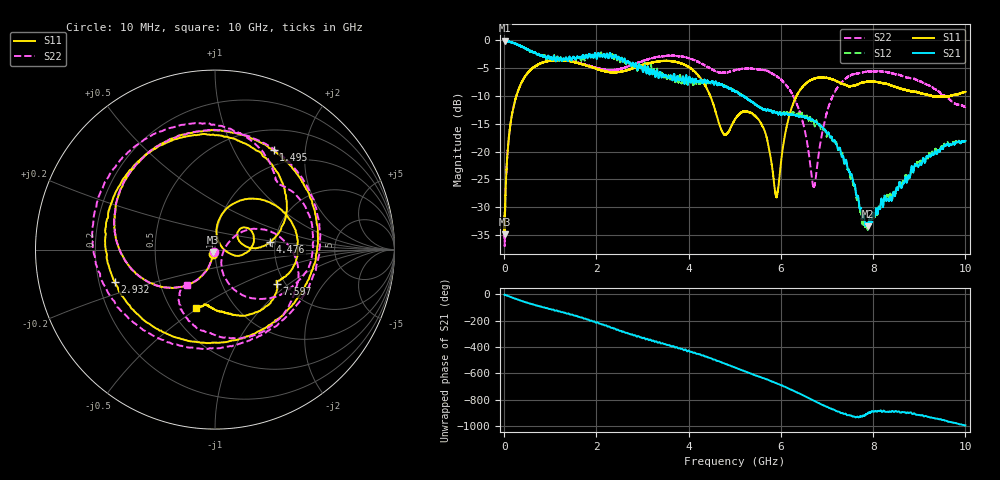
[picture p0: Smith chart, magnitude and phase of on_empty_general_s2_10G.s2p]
!Agilent Technologies,E8362C,MY43020457,A.09.42.15
!Agilent E8362C: A.09.42.15
!Date: Friday, March 13, 2026 15:04:20
!Correction: S11(Full 2 Port(1,2))
!S21(Full 2 Port(1,2))
!S12(Full 2 Port(1,2))
!S22(Full 2 Port(1,2))
!S2P File: Measurements: S11, S21, S12, S22:
# Hz S  dB  R 50
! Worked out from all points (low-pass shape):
!   20001 points, 10 MHz to 10 GHz, reference 50 ohm
!   highest |S21| = -0.02 dB at 10 MHz (marker M1); lowest = -33.4 dB at 7.882 GHz (marker M2)
!   |S21| within 3 dB of the highest: start of sweep to 901.2 MHz; 2.019 GHz to 2.19 GHz (170.8 MHz wide, 8.11 % of centre)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
!   lowest |S11| = -34.9 dB at 10.5 MHz (marker M3), VSWR 1.04, Z = 48.8 - j1.29 ohm
!   |S11| at or under -10 dB: start of sweep to 264.8 MHz; 4.468 GHz to 6.339 GHz (1.871 GHz wide, 34.6 % of centre); 9.284 GHz to 9.664 GHz (380.2 MHz wide, 4.01 % of centre)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
!   |S22| runs from -37.0 to -2.7 dB; largest |S21 - S12| = 0.057
!   S11 on the Smith chart (normalised r, x): 10 MHz: 0.98, -0.05; 1.495 GHz: 0.77, +1.46; 2.932 GHz: 0.27, -0.15; 4.476 GHz: 1.88, +0.17; 7.597 GHz: 1.81, -0.82; 10 GHz: 0.66, -0.49
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1e7  -31.05 -110.8  -0.02 -1.7  -0.11 -1.2  -35.71 -104.8
1.04995e7  -34.92 -132.6  -0.07 -1.3  -0.06 -1.6  -35.39 -138.2
1.273825e8  -15.70 -116.7  -0.27 -17.8  -0.27 -17.8  -15.69 -116.8
3.551545e8  -7.96 -151.6  -0.99 -47.1  -1.00 -46.9  -7.97 -151.4
8.14195e8  -4.03 145.2  -2.68 -94.3  -2.72 -94.7  -4.04 145.2
1.495014e9  -3.85 59.5  -3.01 -156.7  -2.90 -157.3  -3.78 57.2
1.675333e9  -4.25 35.7  -3.20 -175.8  -3.60 -174.6  -4.16 32.1
2.396112e9  -5.74 -73.9  -2.85 100.0  -3.06 100.5  -5.30 -77.6
2.932075e9  -4.61 -162.1  -4.40 37.3  -4.39 37.0  -3.93 -154.6
3.340166e9  -3.78 139.8  -6.59 -6.5  -6.56 -8.6  -2.95 155.2
3.791215e9  -4.03 83.7  -7.10 -49.2  -7.21 -45.0  -2.85 108.0
4.47603e9  -10.13 7.7  -7.57 -124.4  -7.75 -123.5  -5.08 55.5
5.005e9  -14.22 38.7  -9.21 164.7  -9.12 165.5  -5.34 36.4
5.567437e9  -14.90 -4.6  -12.15 91.3  -12.19 91.5  -5.28 0.4
5.906098e9  -28.18 35.6  -12.97 45.4  -12.91 46.0  -6.46 -26.1
6.21429e9  -12.63 74.7  -13.36 -1.4  -12.99 -2.2  -9.23 -51.9
6.670333e9  -7.05 24.9  -14.27 -77.9  -14.54 -80.3  -24.59 -49.9
7.101402e9  -6.99 -11.6  -17.43 -149.5  -17.65 -150.3  -10.46 21.6
7.596906e9  -8.07 -29.2  -25.95 152.4  -26.14 152.3  -6.05 -24.0
7.88162e9  -7.41 -41.8  -33.42 176.9  -34.21 -180.0  -5.57 -43.9
8.335166e9  -7.90 -66.6  -28.77 -171.9  -28.05 -170.5  -5.77 -72.9
1e10  -9.27 -108.2  -18.10 85.6  -18.16 84.5  -11.94 -128.6
